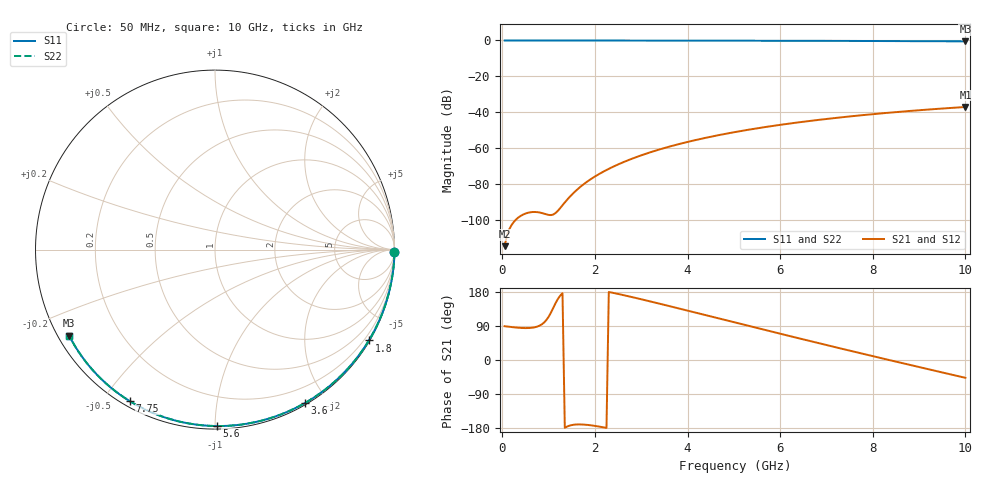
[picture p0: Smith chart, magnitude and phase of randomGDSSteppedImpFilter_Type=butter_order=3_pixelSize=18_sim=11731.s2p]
! freq	dB(S11)	phase(S11)	dB(S12)	phase(S12)
!  dB(S21)	phase(S21)	dB(S22)	phase(S22)
!S-par simulation data
#  GHz  S  DB  R 50
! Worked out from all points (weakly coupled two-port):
!   200 points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, 50 MHz to 10 GHz, reference 50 ohm
!   highest |S21| = -37.14 dB at 10 GHz (marker M1); lowest = -114.9 dB at 50 MHz (marker M2)
!   lowest |S11| = -0.5 dB at 10 GHz (marker M3), VSWR 34.32, Z = 1.57 - j13.6 ohm
!   |S11| at or under -10 dB: nowhere
!   |S22| runs from -0.5 to 0.0 dB; largest |S21 - S12| = 0
!   S11 on the Smith chart (normalised r, x): 50 MHz: open; 1.8 GHz: 0.03, -3.66; 3.6 GHz: 0.02, -1.75; 5.6 GHz: 0.02, -1.01; 7.75 GHz: 0.02, -0.59; 10 GHz: 0.03, -0.27
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0.05  -0.00 -0.9  -114.85 89.2  -114.85 89.2  -0.00 -0.9
0.45  -0.01 -7.8  -97.19 84.3  -97.19 84.3  -0.01 -7.8
0.9  -0.02 -15.4  -96.69 98.6  -96.69 98.6  -0.02 -15.4
1.3  -0.03 -22.2  -92.01 176.3  -92.01 176.3  -0.03 -22.2
1.75  -0.04 -29.7  -80.40 -170.4  -80.40 -170.4  -0.04 -29.7
1.8  -0.04 -30.5  -79.43 -170.8  -79.43 -170.8  -0.04 -30.5
1.95  -0.04 -33.0  -76.77 -172.9  -76.77 -172.9  -0.04 -33.0
2.1  -0.05 -35.5  -74.43 -175.8  -74.43 -175.8  -0.05 -35.5
2.3  -0.05 -38.8  -71.67 179.5  -71.67 179.5  -0.05 -38.8
2.5  -0.05 -42.0  -69.22 174.4  -69.22 174.4  -0.05 -42.0
2.9  -0.06 -48.5  -65.06 163.2  -65.06 163.2  -0.06 -48.5
3.4  -0.07 -56.4  -60.80 148.5  -60.80 148.5  -0.07 -56.4
3.6  -0.08 -59.6  -59.32 142.5  -59.32 142.5  -0.08 -59.6
4.3  -0.10 -70.3  -54.87 121.2  -54.87 121.2  -0.10 -70.3
5.05  -0.13 -81.5  -51.03 98.2  -51.03 98.2  -0.13 -81.5
5.6  -0.15 -89.5  -48.65 81.5  -48.65 81.5  -0.15 -89.5
6.15  -0.17 -97.3  -46.58 64.9  -46.58 64.9  -0.17 -97.3
6.7  -0.20 -105.0  -44.74 48.4  -44.74 48.4  -0.20 -105.0
7.75  -0.28 -119.3  -41.77 17.4  -41.77 17.4  -0.28 -119.3
8.35  -0.33 -127.3  -40.33 0.0  -40.33 0.0  -0.33 -127.3
9.2  -0.41 -138.7  -38.56 -24.3  -38.56 -24.3  -0.41 -138.7
10  -0.51 -149.5  -37.14 -47.0  -37.14 -47.0  -0.51 -149.5
